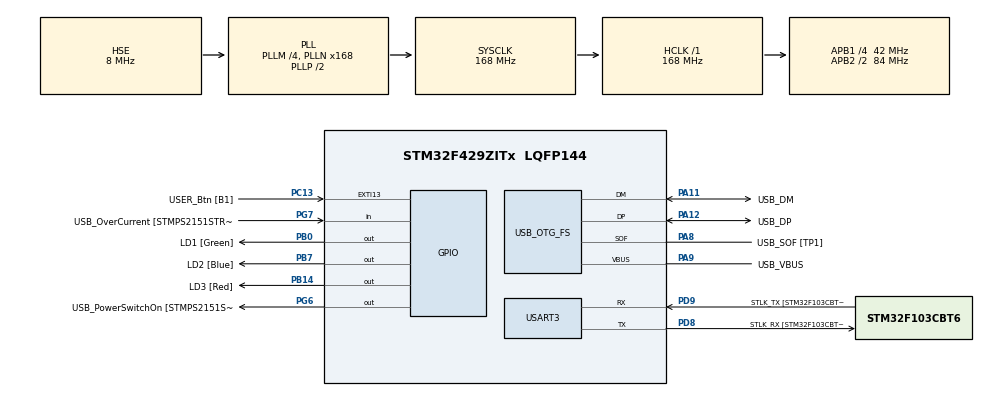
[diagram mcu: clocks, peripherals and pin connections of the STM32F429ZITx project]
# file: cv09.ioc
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Mcu.Family=STM32F4
Mcu.Name=STM32F429ZITx
Mcu.Package=LQFP144
NVIC.OTG_FS_IRQn=true\:0\:0\:false\:false\:true\:false\:true\:true
NVIC.PriorityGroup=NVIC_PRIORITYGROUP_4
PA1.GPIO_Label=RMII_REF_CLK [LAN8742A-CZ-TR_REFCLK0]
PA1.Signal=ETH_REF_CLK
PA10.GPIO_Label=USB_ID
PA10.Signal=USB_OTG_FS_ID
PA11.GPIO_Label=USB_DM
PA11.Mode=Device_Only
PA11.Signal=USB_OTG_FS_DM
PA12.GPIO_Label=USB_DP
PA12.Mode=Device_Only
PA12.Signal=USB_OTG_FS_DP
PA13.GPIO_Label=TMS
PA13.Mode=Serial_Wire
PA13.Signal=SYS_JTMS-SWDIO
PA14.GPIO_Label=TCK
PA14.Mode=Serial_Wire
PA14.Signal=SYS_JTCK-SWCLK
PA2.GPIO_Label=RMII_MDIO [LAN8742A-CZ-TR_MDIO]
PA2.Signal=ETH_MDIO
PA7.GPIO_Label=RMII_CRS_DV [LAN8742A-CZ-TR_CRS_DV]
PA7.Signal=ETH_CRS_DV
PA8.GPIO_Label=USB_SOF [TP1]
PA8.Mode=Activate_SOF_FS
PA8.Signal=USB_OTG_FS_SOF
PA9.GPIO_Label=USB_VBUS
PA9.Mode=Activate_VBUS
PA9.Signal=USB_OTG_FS_VBUS
PB0.GPIO_Label=LD1 [Green]
PB0.Signal=GPIO_Output
PB13.GPIO_Label=RMII_TXD1 [LAN8742A-CZ-TR_TXD1]
PB13.Signal=ETH_TXD1
PB14.GPIO_Label=LD3 [Red]
PB14.Signal=GPIO_Output
PB7.GPIO_Label=LD2 [Blue]
PB7.Signal=GPIO_Output
PC1.GPIO_Label=RMII_MDC [LAN8742A-CZ-TR_MDC]
PC1.Signal=ETH_MDC
PC13.GPIO_Label=USER_Btn [B1]
PC13.Signal=GPXTI13
PC14/OSC32_IN.Mode=LSE-External-Oscillator
PC14/OSC32_IN.Signal=RCC_OSC32_IN
PC15/OSC32_OUT.Mode=LSE-External-Oscillator
PC15/OSC32_OUT.Signal=RCC_OSC32_OUT
PC4.GPIO_Label=RMII_RXD0 [LAN8742A-CZ-TR_RXD0]
PC4.Signal=ETH_RXD0
PC5.GPIO_Label=RMII_RXD1 [LAN8742A-CZ-TR_RXD1]
PC5.Signal=ETH_RXD1
PD8.GPIO_Label=STLK_RX [STM32F103CBT6_PA3]
PD8.Mode=Asynchronous
PD8.Signal=USART3_TX
PD9.GPIO_Label=STLK_TX [STM32F103CBT6_PA2]
PD9.Mode=Asynchronous
PD9.Signal=USART3_RX
PG11.GPIO_Label=RMII_TX_EN [LAN8742A-CZ-TR_TXEN]
PG11.Signal=ETH_TX_EN
PG13.GPIO_Label=RMII_TXD0 [LAN8742A-CZ-TR_TXD0]
PG13.Signal=ETH_TXD0
PG6.GPIO_Label=USB_PowerSwitchOn [STMPS2151STR_EN]
PG6.Signal=GPIO_Output
PG7.GPIO_Label=USB_OverCurrent [STMPS2151STR_FAULT]
PG7.Signal=GPIO_Input
PH0/OSC_IN.GPIO_Label=MCO [STM32F103CBT6_PA8]
PH0/OSC_IN.Mode=HSE-External-Clock-Source
PH0/OSC_IN.Signal=RCC_OSC_IN
PH1/OSC_OUT.Mode=HSE-External-Clock-Source
PH1/OSC_OUT.Signal=RCC_OSC_OUT
ProjectManager.HeapSize=0x200
ProjectManager.StackSize=0x400
ProjectManager.TargetToolchain=STM32CubeIDE
RCC.48MHZClocksFreq_Value=48000000
RCC.AHBFreq_Value=168000000
RCC.APB1CLKDivider=RCC_HCLK_DIV4
RCC.APB1Freq_Value=42000000
RCC.APB1TimFreq_Value=84000000
RCC.APB2CLKDivider=RCC_HCLK_DIV2
RCC.APB2Freq_Value=84000000
RCC.APB2TimCLKDivider=2
RCC.APB2TimFreq_Value=168000000
RCC.CortexFreq_Value=168000000
RCC.HCLKFreq_Value=168000000
RCC.HSE_VALUE=8000000
RCC.HSI_VALUE=16000000
RCC.PLLM=4
RCC.PLLMUL=RCC_PLL_MUL9
RCC.PLLN=168
RCC.PLLQ=7
RCC.PRESCALERUSB=RCC_USBCLKSOURCE_PLL_DIV1_5
RCC.SYSCLKFreq_VALUE=168000000
RCC.SYSCLKSource=RCC_SYSCLKSOURCE_PLLCLK
RCC.SYSCLKSourceVirtual=RCC_SYSCLKSOURCE_PLLCLK
RCC.USBFreq_Value=48000000
RCC.VCOOutputFreq_Value=336000000
USART3.VirtualMode=VM_ASYNC
USB_DEVICE.CLASS_NAME_FS=HID
USB_DEVICE.VirtualMode-HID_FS=Hid
USB_DEVICE.VirtualModeFS=Hid_FS
USB_OTG_FS.VirtualMode=Device_Only
VP_USB_DEVICE_VS_USB_DEVICE_HID_FS.Mode=HID_FS
board=NUCLEO-F429ZI

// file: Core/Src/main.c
/* USER CODE BEGIN Header */
/**
  ******************************************************************************
  * @file           : main.c
  * @brief          : Main program body
  ******************************************************************************
  * @attention
  *
  * Copyright (c) 2023 STMicroelectronics.
  * All rights reserved.
  *
  * This software is licensed under terms that can be found in the LICENSE file
  * in the root directory of this software component.
  * If no LICENSE file comes with this software, it is provided AS-IS.
  *
  ******************************************************************************
  */
/* USER CODE END Header */
#include "main.h"
#include "usb_device.h"

/* USER CODE BEGIN Includes */
#include "usbd_hid.h"
#include <stdbool.h>
#include <math.h>

/* USER CODE END Includes */

/* USER CODE BEGIN PD */
#define PI 3.14159265359

/* USER CODE END PD */

UART_HandleTypeDef huart3;

/* USER CODE BEGIN PV */
extern USBD_HandleTypeDef hUsbDeviceFS;

/* USER CODE END PV */

void SystemClock_Config(void);
static void MX_GPIO_Init(void);
static void MX_USART3_UART_Init(void);

/* USER CODE BEGIN 0 */
void step(int8_t x, int8_t y, bool btn)
{
	uint8_t buff[4];
	buff[0] = btn; // stiskni leve tlacitko
	buff[1] = x; // posun o delta X
	buff[2] = y; // posun o delta Y
	buff[3] = 0; // bez scrollu
	USBD_HID_SendReport(&hUsbDeviceFS, buff, sizeof(buff));
	HAL_Delay(USBD_HID_GetPollingInterval(&hUsbDeviceFS));
}

void circle(int rad, float start, float length)
{
	float x, y, fi;
	int16_t sx = 0;
	int16_t sy = 0;
	uint8_t num_steps = 50;
	for (uint8_t i = 0; i < num_steps*(length+start); i++)
	{
		fi = 2*PI*i/(num_steps-1);

		x = rad*cosf(fi);
		y = rad*sinf(fi);

		if(fi>=(2*PI)*start)
		{
			step((int16_t)sx+x,(int16_t)sy+y,1);
		}
		else
		{
			step((int16_t)sx+x,(int16_t)sy+y,0);
		}

		sx = (int16_t)x;
		sy = (int16_t)y;
	}
	step(0, 0, 0);
}

/* USER CODE END 0 */

int main(void)
{

  /* MCU Configuration--------------------------------------------------------*/

  /* Reset of all peripherals, Initializes the Flash interface and the Systick. */
  HAL_Init();

  /* Configure the system clock */
  SystemClock_Config();

  /* Initialize all configured peripherals */
  MX_GPIO_Init();
  MX_USART3_UART_Init();
  MX_USB_DEVICE_Init();

  /* Infinite loop */
  while (1)
  {

    /* USER CODE BEGIN 3 */
	  if(HAL_GPIO_ReadPin(USER_Btn_GPIO_Port, USER_Btn_Pin))
	  {
		  circle(10,0,1);
		  step(-5,35,0);
		  circle(8,3.0/8.0,2.0/8.0);
		  step(10,-80,0);
		  circle(2,0,1);
		  step(90,0,0);
		  circle(2,0,1);
		  step(-45,10,0);
		  step(0,25,1);
		  step(0,30,0);
	  }
  }
  /* USER CODE END 3 */
}

void SystemClock_Config(void)
{
  RCC_OscInitTypeDef RCC_OscInitStruct = {0};
  RCC_ClkInitTypeDef RCC_ClkInitStruct = {0};

  /** Configure the main internal regulator output voltage
  */
  __HAL_RCC_PWR_CLK_ENABLE();
  __HAL_PWR_VOLTAGESCALING_CONFIG(PWR_REGULATOR_VOLTAGE_SCALE1);

  /** Initializes the RCC Oscillators according to the specified parameters
  * in the RCC_OscInitTypeDef structure.
  */
  RCC_OscInitStruct.OscillatorType = RCC_OSCILLATORTYPE_HSE;
  RCC_OscInitStruct.HSEState = RCC_HSE_BYPASS;
  RCC_OscInitStruct.PLL.PLLState = RCC_PLL_ON;
  RCC_OscInitStruct.PLL.PLLSource = RCC_PLLSOURCE_HSE;
  RCC_OscInitStruct.PLL.PLLM = 4;
  RCC_OscInitStruct.PLL.PLLN = 168;
  RCC_OscInitStruct.PLL.PLLP = RCC_PLLP_DIV2;
  RCC_OscInitStruct.PLL.PLLQ = 7;
  if (HAL_RCC_OscConfig(&RCC_OscInitStruct) != HAL_OK)
  {
    Error_Handler();
  }

  /** Initializes the CPU, AHB and APB buses clocks
  */
  RCC_ClkInitStruct.ClockType = RCC_CLOCKTYPE_HCLK|RCC_CLOCKTYPE_SYSCLK
                              |RCC_CLOCKTYPE_PCLK1|RCC_CLOCKTYPE_PCLK2;
  RCC_ClkInitStruct.SYSCLKSource = RCC_SYSCLKSOURCE_PLLCLK;
  RCC_ClkInitStruct.AHBCLKDivider = RCC_SYSCLK_DIV1;
  RCC_ClkInitStruct.APB1CLKDivider = RCC_HCLK_DIV4;
  RCC_ClkInitStruct.APB2CLKDivider = RCC_HCLK_DIV2;

  if (HAL_RCC_ClockConfig(&RCC_ClkInitStruct, FLASH_LATENCY_5) != HAL_OK)
  {
    Error_Handler();
  }
}

static void MX_USART3_UART_Init(void)
{

  huart3.Instance = USART3;
  huart3.Init.BaudRate = 115200;
  huart3.Init.WordLength = UART_WORDLENGTH_8B;
  huart3.Init.StopBits = UART_STOPBITS_1;
  huart3.Init.Parity = UART_PARITY_NONE;
  huart3.Init.Mode = UART_MODE_TX_RX;
  huart3.Init.HwFlowCtl = UART_HWCONTROL_NONE;
  huart3.Init.OverSampling = UART_OVERSAMPLING_16;
  if (HAL_UART_Init(&huart3) != HAL_OK)
  {
    Error_Handler();
  }

}

static void MX_GPIO_Init(void)
{
  GPIO_InitTypeDef GPIO_InitStruct = {0};

  /* GPIO Ports Clock Enable */
  __HAL_RCC_GPIOC_CLK_ENABLE();
  __HAL_RCC_GPIOH_CLK_ENABLE();
  __HAL_RCC_GPIOA_CLK_ENABLE();
  __HAL_RCC_GPIOB_CLK_ENABLE();
  __HAL_RCC_GPIOD_CLK_ENABLE();
  __HAL_RCC_GPIOG_CLK_ENABLE();

  /*Configure GPIO pin Output Level */
  HAL_GPIO_WritePin(GPIOB, LD1_Pin|LD3_Pin|LD2_Pin, GPIO_PIN_RESET);

  /*Configure GPIO pin Output Level */
  HAL_GPIO_WritePin(USB_PowerSwitchOn_GPIO_Port, USB_PowerSwitchOn_Pin, GPIO_PIN_RESET);

  /*Configure GPIO pin : USER_Btn_Pin */
  GPIO_InitStruct.Pin = USER_Btn_Pin;
  GPIO_InitStruct.Mode = GPIO_MODE_IT_RISING;
  GPIO_InitStruct.Pull = GPIO_NOPULL;
  HAL_GPIO_Init(USER_Btn_GPIO_Port, &GPIO_InitStruct);

  /*Configure GPIO pins : RMII_MDC_Pin RMII_RXD0_Pin RMII_RXD1_Pin */
  GPIO_InitStruct.Pin = RMII_MDC_Pin|RMII_RXD0_Pin|RMII_RXD1_Pin;
  GPIO_InitStruct.Mode = GPIO_MODE_AF_PP;
  GPIO_InitStruct.Pull = GPIO_NOPULL;
  GPIO_InitStruct.Speed = GPIO_SPEED_FREQ_VERY_HIGH;
  GPIO_InitStruct.Alternate = GPIO_AF11_ETH;
  HAL_GPIO_Init(GPIOC, &GPIO_InitStruct);

  /*Configure GPIO pins : RMII_REF_CLK_Pin RMII_MDIO_Pin RMII_CRS_DV_Pin */
  GPIO_InitStruct.Pin = RMII_REF_CLK_Pin|RMII_MDIO_Pin|RMII_CRS_DV_Pin;
  GPIO_InitStruct.Mode = GPIO_MODE_AF_PP;
  GPIO_InitStruct.Pull = GPIO_NOPULL;
  GPIO_InitStruct.Speed = GPIO_SPEED_FREQ_VERY_HIGH;
  GPIO_InitStruct.Alternate = GPIO_AF11_ETH;
  HAL_GPIO_Init(GPIOA, &GPIO_InitStruct);

  /*Configure GPIO pins : LD1_Pin LD3_Pin LD2_Pin */
  GPIO_InitStruct.Pin = LD1_Pin|LD3_Pin|LD2_Pin;
  GPIO_InitStruct.Mode = GPIO_MODE_OUTPUT_PP;
  GPIO_InitStruct.Pull = GPIO_NOPULL;
  GPIO_InitStruct.Speed = GPIO_SPEED_FREQ_LOW;
  HAL_GPIO_Init(GPIOB, &GPIO_InitStruct);

  /*Configure GPIO pin : RMII_TXD1_Pin */
  GPIO_InitStruct.Pin = RMII_TXD1_Pin;
  GPIO_InitStruct.Mode = GPIO_MODE_AF_PP;
  GPIO_InitStruct.Pull = GPIO_NOPULL;
  GPIO_InitStruct.Speed = GPIO_SPEED_FREQ_VERY_HIGH;
  GPIO_InitStruct.Alternate = GPIO_AF11_ETH;
  HAL_GPIO_Init(RMII_TXD1_GPIO_Port, &GPIO_InitStruct);

  /*Configure GPIO pin : USB_PowerSwitchOn_Pin */
  GPIO_InitStruct.Pin = USB_PowerSwitchOn_Pin;
  GPIO_InitStruct.Mode = GPIO_MODE_OUTPUT_PP;
  GPIO_InitStruct.Pull = GPIO_NOPULL;
  GPIO_InitStruct.Speed = GPIO_SPEED_FREQ_LOW;
  HAL_GPIO_Init(USB_PowerSwitchOn_GPIO_Port, &GPIO_InitStruct);

  /*Configure GPIO pin : USB_OverCurrent_Pin */
  GPIO_InitStruct.Pin = USB_OverCurrent_Pin;
  GPIO_InitStruct.Mode = GPIO_MODE_INPUT;
  GPIO_InitStruct.Pull = GPIO_NOPULL;
  HAL_GPIO_Init(USB_OverCurrent_GPIO_Port, &GPIO_InitStruct);

  /*Configure GPIO pins : RMII_TX_EN_Pin RMII_TXD0_Pin */
  GPIO_InitStruct.Pin = RMII_TX_EN_Pin|RMII_TXD0_Pin;
  GPIO_InitStruct.Mode = GPIO_MODE_AF_PP;
  GPIO_InitStruct.Pull = GPIO_NOPULL;
  GPIO_InitStruct.Speed = GPIO_SPEED_FREQ_VERY_HIGH;
  GPIO_InitStruct.Alternate = GPIO_AF11_ETH;
  HAL_GPIO_Init(GPIOG, &GPIO_InitStruct);

}

void Error_Handler(void)
{
  __disable_irq();
  while (1)
  {
  }
}
